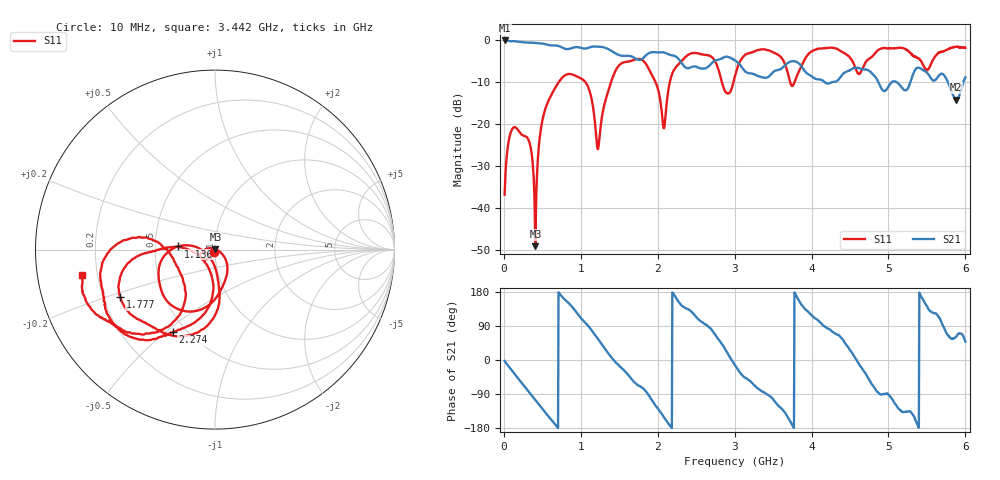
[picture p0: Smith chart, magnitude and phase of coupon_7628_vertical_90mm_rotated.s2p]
! NanoVNA-App
! Date: 2026-10-17 00:29:49
! Start: 10MHz Stop: 6GHz Points: 1001
! S-Parameter data: F S11 S21 S12 S22
# Hz S RI R 50
!  Frequency  S11_Real  S11_Imag  S21_Real  S21_Imag  S12_Real  S12_Imag  S22_Real  S22_Imag
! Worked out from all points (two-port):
!   1001 points, 10 MHz to 6 GHz, reference 50 ohm
!   highest |S21| = -0.11 dB at 10 MHz (marker M1); lowest = -14.2 dB at 5.88 GHz (marker M2)
!   |S21| within 3 dB of the highest: start of sweep to 1.444 GHz; 1.888 GHz to 2.105 GHz (217 MHz wide, 10.9 % of centre)
!   lowest |S11| = -49.1 dB at 411.3 MHz (marker M3), VSWR 1.01, Z = 50.3 + j0.216 ohm
!   |S11| at or under -10 dB: start of sweep to 715.1 MHz; 1.059 GHz to 1.394 GHz (335.9 MHz wide, 27.4 % of centre); 1.971 GHz to 2.158 GHz (187.5 MHz wide, 9.08 % of centre)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
!   S12 and S22 are empty: the file has one direction only
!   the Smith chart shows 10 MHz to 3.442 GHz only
!   S11 on the Smith chart (normalised r, x): 10 MHz: 0.99, -0.03; 1.136 GHz: 0.66, +0.02; 1.777 GHz: 0.27, -0.22; 2.274 GHz: 0.42, -0.53; 3.442 GHz: 0.14, -0.09
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1e7  -0.00592 -0.0131  0.9868 -0.0468  0 0  0 0
1.4777e8  -0.0837 -0.0365  0.7545 -0.6026  0 0  0 0
4.1133e8  0.00275 0.00215  -0.2489 -0.8881  0 0  0 0
5.6707e8  0.0579 -0.1674  -0.7254 -0.4968  0 0  0 0
1.01033e9  -0.3147 -0.142  -0.2573 0.7613  0 0  0 0
1.13612e9  -0.2069 0.0175  0.1441 0.8164  0 0  0 0
1.22597e9  -0.0319 -0.039  0.4808 0.6813  0 0  0 0
1.36973e9  0.0261 -0.2674  0.7442 0.193  0 0  0 0
1.77705e9  -0.5272 -0.2638  0.1958 -0.5444  0 0  0 0
2.01066e9  -0.2461 0.0134  -0.4587 -0.5416  0 0  0 0
2.08254e9  -0.0623 -0.063  -0.6254 -0.3373  0 0  0 0
2.27422e9  -0.2363 -0.4604  -0.5263 0.2689  0 0  0 0
2.74144e9  -0.5674 0.0134  0.209 0.5277  0 0  0 0
3.005e9  -0.1806 -0.3271  0.5557 -0.1349  0 0  0 0
3.44227e9  -0.7406 -0.1404  -0.0181 -0.3663  0 0  0 0
3.75974e9  -0.2741 -0.0905  -0.5567 -0.0437  0 0  0 0
4.00533e9  -0.6371 -0.3642  -0.1658 0.3263  0 0  0 0
4.58037e9  -0.4348 0.0679  0.4667 0.0146  0 0  0 0
5.00566e9  -0.793 -0.057  -0.0155 -0.2842  0 0  0 0
5.39501e9  -0.5712 0.1648  -0.4677 -0.00916  0 0  0 0
5.8802e9  -0.8264 0.0734  0.0929 0.1718  0 0  0 0
6e9  -0.7967 0.1374  0.2375 0.2701  0 0  0 0
